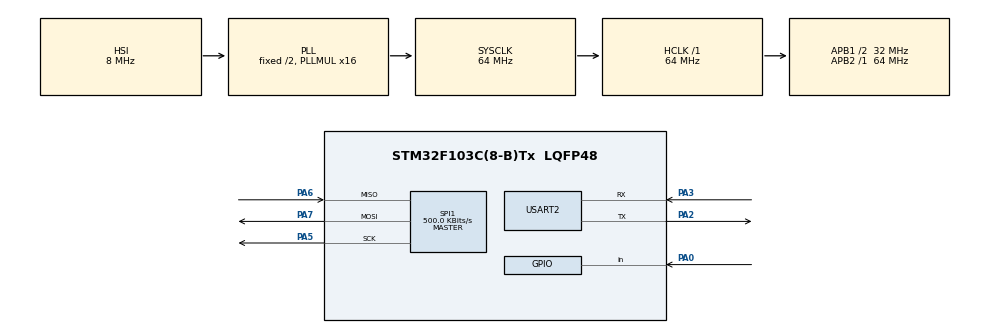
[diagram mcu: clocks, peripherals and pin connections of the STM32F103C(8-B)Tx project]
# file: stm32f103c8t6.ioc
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Mcu.Family=STM32F1
Mcu.Name=STM32F103C(8-B)Tx
Mcu.Package=LQFP48
NVIC.PriorityGroup=NVIC_PRIORITYGROUP_4
NVIC.SPI1_IRQn=true\:0\:0\:false\:false\:true\:true\:true\:true
PA0-WKUP.GPIO_PuPd=GPIO_PULLDOWN
PA0-WKUP.Signal=GPIO_Input
PA13.Mode=Serial_Wire
PA13.Signal=SYS_JTMS-SWDIO
PA14.Mode=Serial_Wire
PA14.Signal=SYS_JTCK-SWCLK
PA2.Mode=Asynchronous
PA2.Signal=USART2_TX
PA3.Mode=Asynchronous
PA3.Signal=USART2_RX
PA5.Mode=Full_Duplex_Master
PA5.Signal=SPI1_SCK
PA6.Mode=Full_Duplex_Master
PA6.Signal=SPI1_MISO
PA7.Mode=Full_Duplex_Master
PA7.Signal=SPI1_MOSI
ProjectManager.HeapSize=0x200
ProjectManager.StackSize=0x400
ProjectManager.TargetToolchain=STM32CubeIDE
RCC.AHBFreq_Value=64000000
RCC.APB1CLKDivider=RCC_HCLK_DIV2
RCC.APB1Freq_Value=32000000
RCC.APB1TimFreq_Value=64000000
RCC.APB2Freq_Value=64000000
RCC.APB2TimFreq_Value=64000000
RCC.HCLKFreq_Value=64000000
RCC.PLLMUL=RCC_PLL_MUL16
RCC.SYSCLKFreq_VALUE=64000000
RCC.SYSCLKSource=RCC_SYSCLKSOURCE_PLLCLK
RCC.USBFreq_Value=64000000
SPI1.BaudRatePrescaler=SPI_BAUDRATEPRESCALER_128
SPI1.CalculateBaudRate=500.0 KBits/s
SPI1.Direction=SPI_DIRECTION_2LINES
SPI1.Mode=SPI_MODE_MASTER
SPI1.VirtualType=VM_MASTER
USART2.VirtualMode=VM_ASYNC
VP_TIM2_VS_ClockSourceINT.Mode=Internal
board=custom

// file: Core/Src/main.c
/* USER CODE BEGIN Header */
/**
  ******************************************************************************
  * @file           : main.c
  * @brief          : Main program body
  ******************************************************************************
  * @attention
  *
  * Copyright (c) 2025 STMicroelectronics.
  * All rights reserved.
  *
  * This software is licensed under terms that can be found in the LICENSE file
  * in the root directory of this software component.
  * If no LICENSE file comes with this software, it is provided AS-IS.
  *
  ******************************************************************************
  */
/* USER CODE END Header */
#include "main.h"
#include "spi.h"
#include "tim.h"
#include "usart.h"
#include "gpio.h"

/* USER CODE BEGIN Includes */
#include <stdio.h>  // printf/sprintf需要
/* USER CODE END Includes */

/* USER CODE BEGIN PD */
// 原有宏定义保留
#define INMP441_WS_PIN    GPIO_PIN_4
#define INMP441_WS_PORT   GPIOA
#define HC_SR501_PIN      GPIO_PIN_0
#define HC_SR501_PORT     GPIOA

// 采样参数（优化后）
#define SAMPLE_RATE       16000
#define INMP441_BIT_DEPTH 16
#define AUDIO_BUF_SIZE    1024
/* USER CODE END PD */

/* USER CODE BEGIN PV */
// 原有全局变量保留
uint8_t human_detected = 0;    // 人体检测状态（0：无人，1：有人）
int16_t audio_data = 0;        // INMP441音频采样值
uint8_t uart_tx_buf[8] = {0};  // 串口发送缓冲区

// 新增：音频缓冲区（对应ESP32的循环缓冲区）
AudioBuffer audio_buf = {0};
// 新增：WS引脚状态（由定时器中断控制）
uint8_t ws_state = 0;
/* USER CODE END PV */

void SystemClock_Config(void);
/* USER CODE BEGIN PFP */
// 原有函数声明保留
uint8_t HC_SR501_Read_State(void);       // 读取人体红外状态
int16_t INMP441_Read_Audio(void);        // 读取INMP441音频数据
void USART2_Send_Data(uint8_t *buf, uint16_t len); // 串口发送数据
// 移除原WS生成函数：INMP441_WS_Generate(void);
// 新增函数声明
uint16_t INMP441_ReadBuf(int16_t *dest, uint16_t len); // 读取音频缓冲区
/* USER CODE END PFP */

/* USER CODE BEGIN 0 */
// 原有HC-SR501读取函数保留
uint8_t HC_SR501_Read_State(void)
{
  uint8_t state1 = HAL_GPIO_ReadPin(HC_SR501_PORT, HC_SR501_PIN);
  HAL_Delay(10); // 消抖10ms
  uint8_t state2 = HAL_GPIO_ReadPin(HC_SR501_PORT, HC_SR501_PIN);
  return (state1 == state2) ? state1 : 0;
}

// 原有SPI读取函数保留（优化超时时间）
static uint8_t SPI_Read_Byte(void)
{
  uint8_t rx_data = 0;
  HAL_SPI_Receive(&hspi1, &rx_data, 1, 10); // 超时从100ms缩短为10ms，提升响应
  return rx_data;
}

// 新增：定时器2中断回调（生成精确16kHz WS信号，替代原HAL_GetTick模拟）
void HAL_TIM_PeriodElapsedCallback(TIM_HandleTypeDef *htim) {
  if (htim->Instance == TIM2) {
    // 翻转WS引脚状态
    ws_state = !ws_state;
    HAL_GPIO_WritePin(INMP441_WS_PORT, INMP441_WS_PIN, ws_state);

    // WS高电平时读取音频采样（INMP441左声道数据）
    if (ws_state == GPIO_PIN_SET) {
      audio_data = INMP441_Read_Audio();
      // 将采样值写入循环缓冲区（对应ESP32的缓存逻辑）
      uint16_t next_write_idx = (audio_buf.write_idx + 1) % AUDIO_BUF_SIZE;
      if (next_write_idx != audio_buf.read_idx) { // 缓冲区未满
        audio_buf.buf[audio_buf.write_idx] = audio_data;
        audio_buf.write_idx = next_write_idx;
      }
    }
  }
}

// 优化INMP441音频读取函数（适配定时器WS信号）
int16_t INMP441_Read_Audio(void)
{
  uint8_t data_h = 0, data_l = 0;
  int16_t audio = 0;

  // 仅在WS高电平时读取（由定时器中断触发）
  if (ws_state == GPIO_PIN_SET)
  {
    data_h = SPI_Read_Byte(); // 高8位
    data_l = SPI_Read_Byte(); // 低8位
    // 修正INMP441数据格式（高位在前，符号位处理）
    audio = (int16_t)((data_h << 8) | data_l);
    // 对齐ESP32的数据范围（可选）
    audio = audio >> 1; // INMP441是24位数据，取高16位
  }
  return audio;
}

// 新增：读取音频缓冲区（对应ESP32的i2s_read逻辑）
uint16_t INMP441_ReadBuf(int16_t *dest, uint16_t len)
{
  uint16_t read_len = 0;
  while (read_len < len && audio_buf.read_idx != audio_buf.write_idx) {
    dest[read_len++] = audio_buf.buf[audio_buf.read_idx];
    audio_buf.read_idx = (audio_buf.read_idx + 1) % AUDIO_BUF_SIZE;
  }
  return read_len;
}

// 原有USART2发送函数保留
void USART2_Send_Data(uint8_t *buf, uint16_t len)
{
  HAL_UART_Transmit(&huart2, buf, len, 100);
}

// 原有串口重定向保留
#ifdef __GNUC__
#define PUTCHAR_PROTOTYPE int __io_putchar(int ch)
#else
#define PUTCHAR_PROTOTYPE int fputc(int ch, FILE *f)
#endif
PUTCHAR_PROTOTYPE
{
  HAL_UART_Transmit(&huart2, (uint8_t *)&ch, 1, 100);
  return ch;
}
/* USER CODE END 0 */

int main(void)
{

  /* MCU Configuration--------------------------------------------------------*/

  /* Reset of all peripherals, Initializes the Flash interface and the Systick. */
  HAL_Init();

  /* Configure the system clock */
  SystemClock_Config();

  /* Initialize all configured peripherals */
  MX_GPIO_Init();
  MX_SPI1_Init();
  MX_USART2_UART_Init();
  MX_TIM2_Init();
  /* USER CODE BEGIN 2 */
  // 原有初始化提示保留
  uint8_t init_msg[] = "STM32F103 Init OK\r\n";
  USART2_Send_Data(init_msg, strlen((char*)init_msg));

  // 新增：启动TIM2中断（生成16kHz WS信号）
  HAL_TIM_Base_Start_IT(&htim2);
  // 初始化WS引脚为低电平
  HAL_GPIO_WritePin(INMP441_WS_PORT, INMP441_WS_PIN, GPIO_PIN_RESET);
  /* USER CODE END 2 */

  /* Infinite loop */
  while (1)
  {

    /* USER CODE BEGIN 3 */
    // 1. 读取人体红外状态（原有逻辑保留）
    human_detected = HC_SR501_Read_State();

    // 2. 从音频缓冲区读取数据（替代原直接读取，对应ESP32的缓存逻辑）
    int16_t buf[32] = {0};
    uint16_t read_len = INMP441_ReadBuf(buf, 32);
    if (read_len > 0) {
      audio_data = buf[0]; // 取第一个采样值用于原有帧格式发送
    }

    // 3. 原有帧格式发送逻辑保留（发给F407）
    uart_tx_buf[0] = 0xAA;          // 帧头
    uart_tx_buf[1] = human_detected;// 人体状态
    uart_tx_buf[2] = (audio_data >> 8) & 0xFF; // 音频高8位
    uart_tx_buf[3] = audio_data & 0xFF;        // 音频低8位
    uart_tx_buf[4] = 0x55;          // 帧尾
    USART2_Send_Data(uart_tx_buf, 5);

    // 4. 原有F407指令接收逻辑保留
    uint8_t uart_rx_buf[1] = {0};
    if (HAL_UART_Receive(&huart2, uart_rx_buf, 1, 10) == HAL_OK)
    {
      if (uart_rx_buf[0] == 0x01)
      {
        // 优化：读取缓冲区并批量发送（对应ESP32的实时输出）
        char msg[128] = {0};
        uint16_t len = snprintf(msg, 128, "Human:%d, AudioBufLen:%d, FirstSample:%d\r\n",
                                human_detected, read_len, audio_data);
        USART2_Send_Data((uint8_t*)msg, len);
      }
    }

    HAL_Delay(10); // 主循环延时，降低CPU占用
  }
  /* USER CODE END 3 */
}

void SystemClock_Config(void)
{
  RCC_OscInitTypeDef RCC_OscInitStruct = {0};
  RCC_ClkInitTypeDef RCC_ClkInitStruct = {0};

  /** Initializes the RCC Oscillators according to the specified parameters
  * in the RCC_OscInitTypeDef structure.
  */
  RCC_OscInitStruct.OscillatorType = RCC_OSCILLATORTYPE_HSI;
  RCC_OscInitStruct.HSIState = RCC_HSI_ON;
  RCC_OscInitStruct.HSICalibrationValue = RCC_HSICALIBRATION_DEFAULT;
  RCC_OscInitStruct.PLL.PLLState = RCC_PLL_ON;
  RCC_OscInitStruct.PLL.PLLSource = RCC_PLLSOURCE_HSI_DIV2;
  RCC_OscInitStruct.PLL.PLLMUL = RCC_PLL_MUL16;
  if (HAL_RCC_OscConfig(&RCC_OscInitStruct) != HAL_OK)
  {
    Error_Handler();
  }

  /** Initializes the CPU, AHB and APB buses clocks
  */
  RCC_ClkInitStruct.ClockType = RCC_CLOCKTYPE_HCLK|RCC_CLOCKTYPE_SYSCLK
                              |RCC_CLOCKTYPE_PCLK1|RCC_CLOCKTYPE_PCLK2;
  RCC_ClkInitStruct.SYSCLKSource = RCC_SYSCLKSOURCE_PLLCLK;
  RCC_ClkInitStruct.AHBCLKDivider = RCC_SYSCLK_DIV1;
  RCC_ClkInitStruct.APB1CLKDivider = RCC_HCLK_DIV2;
  RCC_ClkInitStruct.APB2CLKDivider = RCC_HCLK_DIV1;

  if (HAL_RCC_ClockConfig(&RCC_ClkInitStruct, FLASH_LATENCY_2) != HAL_OK)
  {
    Error_Handler();
  }
}

void Error_Handler(void)
{
  __disable_irq();
  while (1)
  {
  }
}
